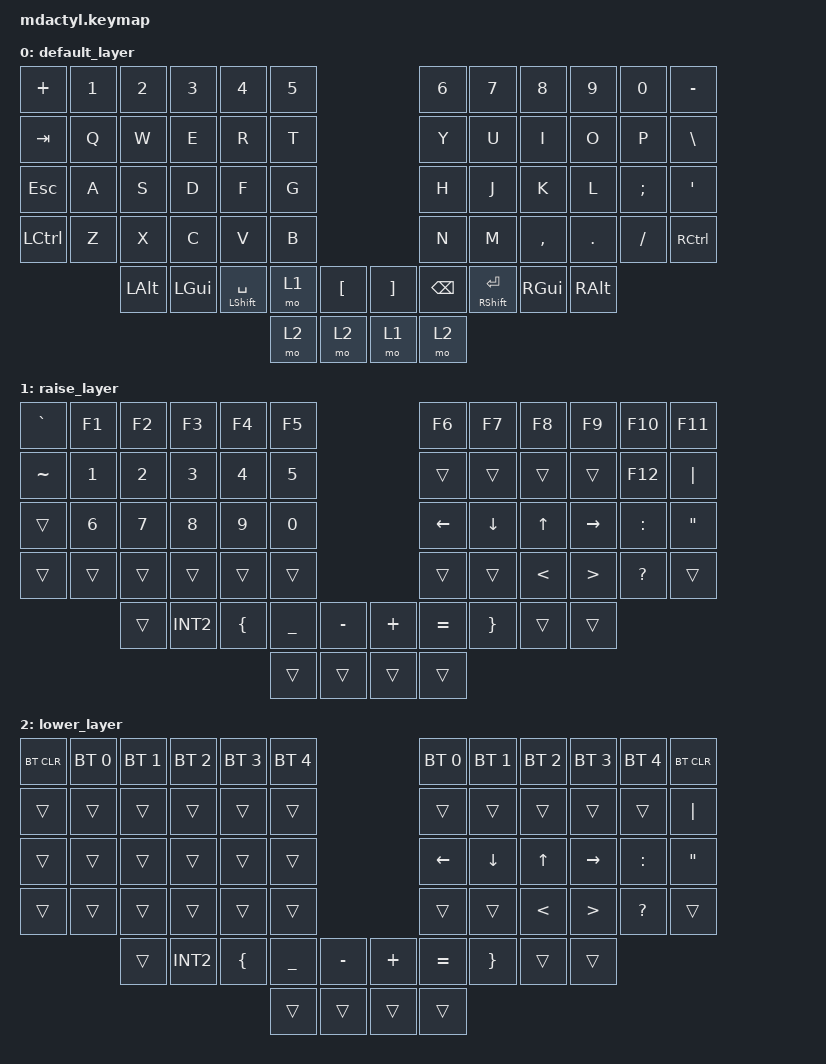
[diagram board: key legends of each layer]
/*
 * Copyright (c) 2020 The ZMK Contributors
 *
 * SPDX-License-Identifier: MIT
 */

#include <behaviors.dtsi>
#include <dt-bindings/zmk/keys.h>
#include <dt-bindings/zmk/bt.h>

// Bluetooth Profile Management
#define BTCLR &bt BT_CLR
#define BT1 &bt BT_SEL 0
#define BT2 &bt BT_SEL 1
#define BT3 &bt BT_SEL 2
#define BT4 &bt BT_SEL 3
#define BT5 &bt BT_SEL 4

&mt {
    tapping-term-ms = <400>;
};

/ {
        keymap {
                compatible = "zmk,keymap";

                default_layer {
// -----------------------------------------------------------------------------------------
// |  ESC |  1  |  2  |  3  |  4  |  5  |               |  6  |  7  |  8  |  9  |  0  |  +   |
// |  TAB |  Q  |  W  |  E  |  R  |  T  |               |  Y  |  U  |  I  |  O  |  P  |  \   |
// | SHFT |  A  |  S  |  D  |  F  |  G  |               |  H  |  J  |  K  |  L  |  ;  |  '   |
// | CTRL |  Z  |  X  |  C  |  V  |  B  |               |  N  |  M  |  ,  |  .  |  /  | SHFT |
//              | GUI | ALT |  [  | SPC | DEL |   | ENT | BKSP|  ]  | PGUP| PGDN|
//                                |LOWER|RAISE|   |LOWER|RAISE|

                        bindings = <
   &kp PLUS   &kp N1 &kp N2   &kp N3   &kp N4   &kp N5                      &kp N6   &kp N7   &kp N8    &kp N9  &kp N0      &kp MINUS 
   &kp TAB   &kp Q  &kp W    &kp E    &kp R    &kp T                       &kp Y    &kp U    &kp I     &kp O   &kp P       &kp BSLH
   &kp ESC   &kp A  &kp S    &kp D    &kp F    &kp G                       &kp H    &kp J    &kp K     &kp L   &kp SEMI    &kp SQT
   &kp LCTRL &kp Z  &kp X    &kp C    &kp V    &kp B                       &kp N    &kp M    &kp COMMA &kp DOT &kp FSLH    &kp RCTRL
            &kp LALT &kp LGUI &mt LSHIFT SPACE &mo 1 &kp LBKT   &kp RBKT &kp BSPC &mt RSHIFT RET &kp RGUI &kp RALT
                                               &mo 2     &mo 2     &mo 1   &mo 2
                        >;
                };

                raise_layer {
// -----------------------------------------------------------------------------------------
// |  `   |  F1 |  F2 |  F3 |  F4 |  F5 |               |  F6 |  F8 |  F8 |  F9 | F10 | F11  |
// |  ~   |  1  |  2  |  3  |  4  |  5  |               |     |     |     |     | F12 |  "|" |
// |      |  6  |  7  |  8  |  9  |  0  |               | LFT | DWN | UP  | RGT |  :  |  "   | 
// |      |     |     |     |     |     |               |     |     |  <  |  >  |  ?  |      |
//              |     | EISU|  {  |  _  |  -  |   |  +  |  =  |  }  |     |     |
//                                |     |     |   |     |     |

                        bindings = <
   &kp GRAVE &kp F1 &kp F2   &kp F3   &kp F4   &kp F5                         &kp F6    &kp F7   &kp F8    &kp F9    &kp F10   &kp F11 
   &kp TILDE &kp N1 &kp N2   &kp N3   &kp N4   &kp N5                         &trans    &trans   &trans    &trans    &kp F12   &kp PIPE
   &trans    &kp N6 &kp N7   &kp N8   &kp N9   &kp N0                         &kp LEFT  &kp DOWN &kp UP    &kp RIGHT &kp COLON &kp DQT 
   &trans    &trans &trans   &trans   &trans   &trans                         &trans    &trans   &kp LT    &kp GT    &kp QMARK &trans
                    &trans   &kp INT2 &kp LBRC &kp UNDER &kp MINUS   &kp PLUS &kp EQUAL &kp RBRC &trans &trans
                                               &trans    &trans      &trans   &trans
                        >;
                };

                lower_layer {
// -----------------------------------------------------------------------------------------
// | BTCLR| BT1 | BT2 | BT3 | BT4 | BT5 |               |     |     |     |     |     |     |
// |      |     |     |     |     |     |               |     |     |     |     |     | "|" |
// |      |     |     |     |     |     |               | LFT | DWN |  UP | RGT |  :  |  "  |
// |      |     |     |     |     |     |               |     |     |  <  |  >  |  ?  |     |
//              |     | EISU|  {  |  _  |  -  |   |  +  |  =  |  }  |     |     |
//                                |     |     |   |     |     |

                        bindings = <
   BTCLR      BT1     BT2      BT3      BT4      BT5                            BT1       BT2      BT3       BT4       BT5       BTCLR
   &trans     &trans  &trans   &trans   &trans   &trans                         &trans    &trans   &trans    &trans    &trans    &kp PIPE
   &trans     &trans  &trans   &trans   &trans   &trans                         &kp LEFT  &kp DOWN &kp UP    &kp RIGHT &kp COLON &kp DQT 
   &trans     &trans  &trans   &trans   &trans   &trans                         &trans    &trans   &kp LT    &kp GT    &kp QMARK &trans
                      &trans   &kp INT2 &kp LBRC &kp UNDER &kp MINUS   &kp PLUS &kp EQUAL &kp RBRC &trans &trans
                                                 &trans    &trans      &trans   &trans
                        >;
                };
        };
};
